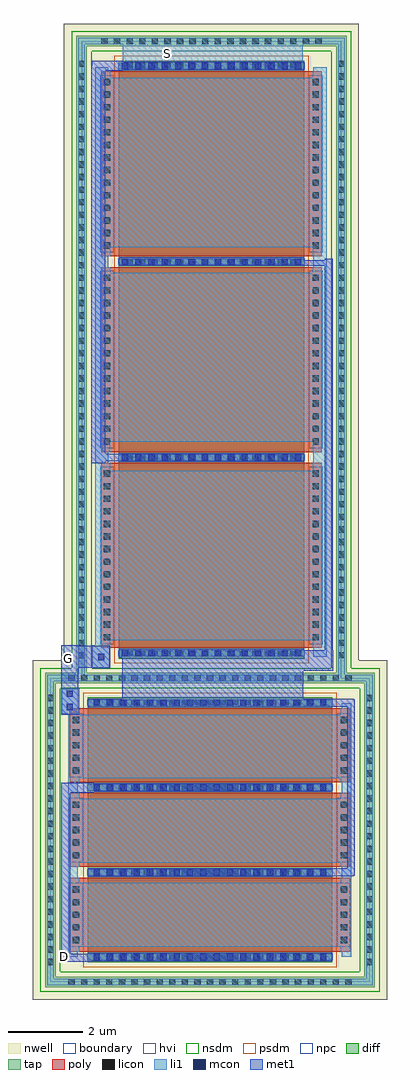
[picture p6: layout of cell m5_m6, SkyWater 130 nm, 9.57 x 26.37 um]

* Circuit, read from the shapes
.subckt m5_m6 D G S
XM1 n1 G D S sky130_fd_pr__pfet_g5v0d10v5 w=6.6 l=2 m=3
XM2 S G n1 S sky130_fd_pr__pfet_g5v0d10v5 w=5 l=5 m=3
.ends

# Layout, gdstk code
from math import pi, radians
import gdstk
lib = gdstk.Library(unit=1e-6, precision=1e-09)
def R(c, l, rs):  # rectangles x0, y0, x1, y1
    for r in rs: c.add(gdstk.rectangle(r[:2], r[2:], *l))
def A(c, l, x, y, w, h, nx, ny, dx, dy):  # array of equal rectangles
    R(c, l, [(x+i*dx, y+j*dy, x+i*dx+w, y+j*dy+h) for i in range(nx) for j in range(ny)])
nwell = (64, 20)
diff = (65, 20)
tap = (65, 44)
poly = (66, 20)
licon = (66, 44)
li1 = (67, 20)
mcon = (67, 44)
met1 = (68, 20)
hvi = (75, 20)
nsdm = (93, 44)
psdm = (94, 20)
npc = (95, 20)
boundary = (235, 4)

sky130_fd_pr__pfet_g5v0d = lib.new_cell('sky130_fd_pr__pfet_g5v0d10v5_PUA7NM')
R(sky130_fd_pr__pfet_g5v0d, nwell, [(-4.58,-4.785,4.58,4.785)])
R(sky130_fd_pr__pfet_g5v0d, diff, [(-3.58,-3.3,3.58,3.3)])
R(sky130_fd_pr__pfet_g5v0d, tap, [(-4.25,-4.455,4.25,-4.165), (-4.25,-4.165,-3.96,4.165), (3.96,-4.165,4.25,4.165), (-4.25,4.165,4.25,4.455)])
A(sky130_fd_pr__pfet_g5v0d, poly, -3.29, -3.785, 2, 7.57, 3, 1, 2.29, 0)
A(sky130_fd_pr__pfet_g5v0d, licon, -3.655, -4.395, 0.17, 0.17, 22, 2, 0.34, 8.62)
A(sky130_fd_pr__pfet_g5v0d, licon, -4.19, -3.825, 0.17, 0.17, 1, 23, 0, 0.34)
A(sky130_fd_pr__pfet_g5v0d, licon, 4.02, -3.825, 0.17, 0.17, 1, 23, 0, 0.34)
A(sky130_fd_pr__pfet_g5v0d, licon, -3.055, -3.705, 0.17, 0.17, 5, 2, 0.34, 7.24)
A(sky130_fd_pr__pfet_g5v0d, licon, -0.765, -3.705, 0.17, 0.17, 5, 2, 0.34, 7.24)
A(sky130_fd_pr__pfet_g5v0d, licon, 1.525, -3.705, 0.17, 0.17, 5, 2, 0.34, 7.24)
A(sky130_fd_pr__pfet_g5v0d, licon, -3.52, -3.145, 0.17, 0.17, 4, 19, 2.29, 0.34)
A(sky130_fd_pr__pfet_g5v0d, li1, -3.29, -3.705, 2, 0.17, 3, 2, 2.29, 7.24)
A(sky130_fd_pr__pfet_g5v0d, li1, -3.52, -3.32, 0.17, 6.64, 4, 1, 2.29, 0)
R(sky130_fd_pr__pfet_g5v0d, li1, [(-4.19,-4.395,4.19,-4.225), (-4.19,-4.225,-4.02,4.225), (4.02,-4.225,4.19,4.225), (-4.19,4.225,4.19,4.395)])
A(sky130_fd_pr__pfet_g5v0d, mcon, -3.52, -3.145, 0.17, 0.17, 4, 18, 2.29, 0.36)
A(sky130_fd_pr__pfet_g5v0d, met1, -3.55, -3.3, 0.23, 6.6, 4, 1, 2.29, 0)
R(sky130_fd_pr__pfet_g5v0d, hvi, [(-4.58,-4.785,4.58,4.785)])
R(sky130_fd_pr__pfet_g5v0d, nsdm, [(-4.375,-4.58,4.375,-4.04), (-4.375,-4.04,-3.835,4.04), (3.835,-4.04,4.375,4.04), (-4.375,4.04,4.375,4.58)])
R(sky130_fd_pr__pfet_g5v0d, psdm, [(-3.705,-3.425,3.705,3.425)])
A(sky130_fd_pr__pfet_g5v0d, npc, -3.155, -3.805, 1.73, 0.37, 3, 2, 2.29, 7.24)
R(sky130_fd_pr__pfet_g5v0d, boundary, [(-4.105,-4.31,4.105,4.31)])

c_sky130_fd_pr__pfet_g5v0d = lib.new_cell('sky130_fd_pr__pfet_g5v0d10v5_DB8A6Y')
R(c_sky130_fd_pr__pfet_g5v0d, nwell, [(-9.08,-3.985,9.08,3.985)])
R(c_sky130_fd_pr__pfet_g5v0d, diff, [(-8.08,-2.5,8.08,2.5)])
R(c_sky130_fd_pr__pfet_g5v0d, tap, [(-8.75,-3.655,8.75,-3.365), (-8.75,-3.365,-8.46,3.365), (8.46,-3.365,8.75,3.365), (-8.75,3.365,8.75,3.655)])
A(c_sky130_fd_pr__pfet_g5v0d, poly, -7.79, -2.985, 5, 5.97, 3, 1, 5.29, 0)
A(c_sky130_fd_pr__pfet_g5v0d, licon, -8.075, -3.595, 0.17, 0.17, 48, 2, 0.34, 7.02)
A(c_sky130_fd_pr__pfet_g5v0d, licon, -8.69, -2.975, 0.17, 0.17, 1, 18, 0, 0.34)
A(c_sky130_fd_pr__pfet_g5v0d, licon, -7.585, -2.905, 0.17, 0.17, 14, 2, 0.34, 5.64)
A(c_sky130_fd_pr__pfet_g5v0d, licon, -2.295, -2.905, 0.17, 0.17, 14, 2, 0.34, 5.64)
A(c_sky130_fd_pr__pfet_g5v0d, licon, 2.995, -2.905, 0.17, 0.17, 14, 2, 0.34, 5.64)
A(c_sky130_fd_pr__pfet_g5v0d, licon, -8.02, -2.295, 0.17, 0.17, 4, 14, 5.29, 0.34)
A(c_sky130_fd_pr__pfet_g5v0d, li1, -7.79, -2.905, 5, 0.17, 3, 2, 5.29, 5.64)
A(c_sky130_fd_pr__pfet_g5v0d, li1, -8.02, -2.52, 0.17, 5.04, 4, 1, 5.29, 0)
R(c_sky130_fd_pr__pfet_g5v0d, li1, [(-8.69,-3.595,8.52,-3.425), (-8.69,-3.425,-8.52,3.425), (-8.69,3.425,8.52,3.595)])
A(c_sky130_fd_pr__pfet_g5v0d, mcon, -8.02, -2.425, 0.17, 0.17, 4, 14, 5.29, 0.36)
A(c_sky130_fd_pr__pfet_g5v0d, met1, -8.05, -2.5, 0.23, 5, 4, 1, 5.29, 0)
R(c_sky130_fd_pr__pfet_g5v0d, hvi, [(-9.08,-3.985,9.08,3.985)])
R(c_sky130_fd_pr__pfet_g5v0d, nsdm, [(-8.875,-3.78,8.875,-3.24), (-8.875,-3.24,-8.335,3.24), (8.335,-3.24,8.875,3.24), (-8.875,3.24,8.875,3.78)])
R(c_sky130_fd_pr__pfet_g5v0d, psdm, [(-8.205,-2.625,8.205,2.625)])
A(c_sky130_fd_pr__pfet_g5v0d, npc, -7.685, -3.005, 4.79, 0.37, 3, 2, 5.29, 5.64)
R(c_sky130_fd_pr__pfet_g5v0d, boundary, [(-8.605,-3.51,8.605,3.51)])

m5_m6 = lib.new_cell('m5_m6')
R(m5_m6, nwell, [(13.81,43.135,14.29,43.745), (13.95,43.88,19.96,48.45), (14,49.24,20.01,53.81), (13.97,54.5,19.98,59.07)])
R(m5_m6, li1, [(13.16,35.32,13.41,35.59), (20.55,35.32,20.8,35.59), (13.16,35.59,20.8,37.33), (13.16,37.33,13.41,37.87), (20.55,37.33,20.8,37.87), (13.16,37.87,20.8,39.59), (13.16,39.59,13.41,40.15), (20.55,39.59,20.8,40.15), (13.16,40.15,20.8,41.87), (13.16,41.87,13.41,41.89), (20.55,41.87,20.8,42.17), (12.98,41.89,13.41,42.57), (13.81,43.135,14.29,43.745), (19.78,43.43,20.14,43.88), (13.88,43.745,14.24,43.88), (13.88,43.88,20.14,48.45), (13.88,48.45,14.24,49.24), (19.78,48.45,20.14,49.24), (13.88,49.24,20.14,53.81), (13.88,53.81,14.24,54.5), (19.78,53.81,20.14,54.5), (13.88,54.5,20.14,59.07), (13.88,59.07,14.24,59.36), (19.78,59.07,20.14,59.36), (14.63,59.36,19.49,60.11)])
R(m5_m6, mcon, [(13.11,41.985,13.28,42.155), (13.11,42.345,13.28,42.515), (13.96,43.34,14.13,43.51)])
R(m5_m6, met1, [(12.96,35.19,13.76,35.29), (12.96,35.29,13.7,35.4), (12.96,35.4,13.21,39.76), (20.07,37.5,20.85,37.51), (20.07,37.51,20.9,37.71), (20.7,37.71,20.9,42.08), (12.96,39.76,13.85,40.01), (12.97,40.01,13.85,40.02), (12.96,41.86,13.45,42.59), (20.07,42.08,20.9,42.28), (14.62,42.15,19.5,43.05), (20.07,42.28,20.85,42.29), (12.96,42.59,13.43,43.13), (14.62,43.05,20.31,43.53), (13.81,43.12,14.28,43.13), (12.96,43.13,14.28,43.73), (19.28,43.53,20.31,43.6), (20.09,43.6,20.3,53.99), (12.96,43.73,13.43,43.74), (13.78,48.66,14.15,48.71), (13.78,48.71,14.84,48.92), (19.37,48.73,19.46,48.89), (13.78,48.92,14.15,59.26), (19.32,53.99,20.3,54.15), (20.09,54.15,20.3,54.18), (13.78,59.26,14.64,59.37), (13.79,59.37,14.64,59.53)])
m5_m6.add(gdstk.Reference(sky130_fd_pr__pfet_g5v0d, (16.985,38.75), rotation=3*pi/2))
m5_m6.add(gdstk.Reference(c_sky130_fd_pr__pfet_g5v0d, (17.025,51.46), rotation=3*pi/2))
m5_m6.add(gdstk.Label('G', (13.15,43.37), layer=68, texttype=5))
m5_m6.add(gdstk.Label('S', (15.84,59.74), layer=67, texttype=5))
m5_m6.add(gdstk.Label('D', (13.05,35.34), layer=68, texttype=5))

lib.write_gds('m5_m6.gds')
